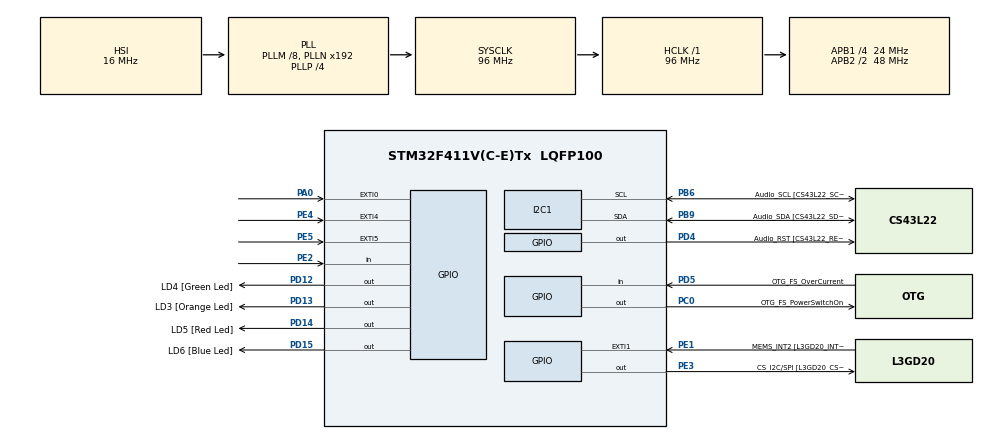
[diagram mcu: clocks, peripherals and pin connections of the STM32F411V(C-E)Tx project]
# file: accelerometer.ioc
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Mcu.Family=STM32F4
Mcu.Name=STM32F411V(C-E)Tx
Mcu.Package=LQFP100
NVIC.PriorityGroup=NVIC_PRIORITYGROUP_0
PA0-WKUP.GPIO_ModeDefaultEXTI=GPIO_MODE_EVT_RISING
PA0-WKUP.Signal=GPXTI0
PA10.GPIO_Label=OTG_FS_ID
PA10.Signal=USB_OTG_FS_ID
PA11.GPIO_Label=OTG_FS_DM
PA11.Signal=USB_OTG_FS_DM
PA12.GPIO_Label=OTG_FS_DP
PA12.Signal=USB_OTG_FS_DP
PA13.GPIO_Label=SWDIO
PA13.Signal=SYS_JTMS-SWDIO
PA14.GPIO_Label=SWCLK
PA14.Signal=SYS_JTCK-SWCLK
PA4.GPIO_Label=I2S3_WS [CS43L22_LRCK]
PA4.GPIO_Mode=GPIO_MODE_AF_PP
PA4.GPIO_PuPd=GPIO_NOPULL
PA4.GPIO_Speed=GPIO_SPEED_FREQ_LOW
PA4.Signal=I2S3_WS
PA5.GPIO_Label=SPI1_SCK [L3GD20_SC/SPC]
PA5.Signal=SPI1_SCK
PA6.GPIO_Label=SPI1_MISO [L3GD20_AS0/SDO]
PA6.Signal=SPI1_MISO
PA7.GPIO_Label=SPI1_MOSI [L3GD20_SDA/SDI/SDO]
PA7.Signal=SPI1_MOSI
PA9.GPIO_Label=VBUS_FS
PA9.Signal=USB_OTG_FS_VBUS
PB10.GPIO_Label=CLK_IN [MP45DT02_CLK]
PB10.Signal=I2S2_CK
PB12.Signal=I2S2_WS
PB3.GPIO_Label=SWO
PB3.Signal=SYS_JTDO-SWO
PB6.GPIO_Label=Audio_SCL [CS43L22_SCL]
PB6.GPIO_Mode=GPIO_MODE_AF_OD
PB6.GPIO_PuPd=GPIO_NOPULL
PB6.GPIO_Speed=GPIO_SPEED_FREQ_LOW
PB6.Mode=I2C
PB6.Signal=I2C1_SCL
PB9.GPIO_Label=Audio_SDA [CS43L22_SDA]
PB9.GPIO_Mode=GPIO_MODE_AF_OD
PB9.GPIO_PuPd=GPIO_NOPULL
PB9.GPIO_Speed=GPIO_SPEED_FREQ_LOW
PB9.Mode=I2C
PB9.Signal=I2C1_SDA
PC0.GPIO_Label=OTG_FS_PowerSwitchOn
PC0.PinState=GPIO_PIN_SET
PC0.Signal=GPIO_Output
PC10.GPIO_Label=I2S3_SCK [CS43L22_SCLK]
PC10.GPIO_Mode=GPIO_MODE_AF_PP
PC10.GPIO_PuPd=GPIO_NOPULL
PC10.GPIO_Speed=GPIO_SPEED_FREQ_LOW
PC10.Signal=I2S3_CK
PC12.GPIO_Label=I2S3_SD [CS43L22_SDIN]
PC12.GPIO_Mode=GPIO_MODE_AF_PP
PC12.GPIO_PuPd=GPIO_NOPULL
PC12.GPIO_Speed=GPIO_SPEED_FREQ_LOW
PC12.Signal=I2S3_SD
PC14-OSC32_IN.GPIO_Label=PC14-OSC32_IN
PC14-OSC32_IN.Signal=RCC_OSC32_IN
PC15-OSC32_OUT.GPIO_Label=PC15-OSC32_OUT
PC15-OSC32_OUT.Signal=RCC_OSC32_OUT
PC3.GPIO_Label=PDM_OUT [MP45DT02_DOUT]
PC3.Signal=I2S2_SD
PC7.GPIO_Label=I2S3_MCK [CS43L22_MCLK]
PC7.GPIO_Mode=GPIO_MODE_AF_PP
PC7.GPIO_PuPd=GPIO_NOPULL
PC7.GPIO_Speed=GPIO_SPEED_FREQ_LOW
PC7.Signal=I2S3_MCK
PD12.GPIO_Label=LD4 [Green Led]
PD12.GPIO_PuPd=GPIO_NOPULL
PD12.GPIO_Speed=GPIO_SPEED_FREQ_LOW
PD12.Signal=GPIO_Output
PD13.GPIO_Label=LD3 [Orange Led]
PD13.GPIO_PuPd=GPIO_NOPULL
PD13.GPIO_Speed=GPIO_SPEED_FREQ_LOW
PD13.Signal=GPIO_Output
PD14.GPIO_Label=LD5 [Red Led]
PD14.GPIO_PuPd=GPIO_NOPULL
PD14.GPIO_Speed=GPIO_SPEED_FREQ_LOW
PD14.Signal=GPIO_Output
PD15.GPIO_Label=LD6 [Blue Led]
PD15.GPIO_PuPd=GPIO_NOPULL
PD15.GPIO_Speed=GPIO_SPEED_FREQ_LOW
PD15.Signal=GPIO_Output
PD4.GPIO_Label=Audio_RST [CS43L22_RESET]
PD4.Signal=GPIO_Output
PD5.GPIO_Label=OTG_FS_OverCurrent
PD5.Signal=GPIO_Input
PE1.GPIO_Label=MEMS_INT2 [L3GD20_INT2]
PE1.GPIO_ModeDefaultEXTI=GPIO_MODE_EVT_RISING
PE1.Signal=GPXTI1
PE2.Signal=GPIO_Input
PE3.GPIO_Label=CS_I2C/SPI [L3GD20_CS_I2C/SPI]
PE3.Signal=GPIO_Output
PE4.GPIO_ModeDefaultEXTI=GPIO_MODE_EVT_RISING
PE4.Signal=GPXTI4
PE5.GPIO_ModeDefaultEXTI=GPIO_MODE_EVT_RISING
PE5.Signal=GPXTI5
PH0\ -\ OSC_IN.GPIO_Label=PH0-OSC_IN
PH0\ -\ OSC_IN.Signal=RCC_OSC_IN
PH1\ -\ OSC_OUT.GPIO_Label=PH1-OSC_OUT
PH1\ -\ OSC_OUT.Signal=RCC_OSC_OUT
ProjectManager.HeapSize=0x200
ProjectManager.StackSize=0x400
ProjectManager.TargetToolchain=STM32CubeIDE
RCC.48MHZClocksFreq_Value=48000000
RCC.AHBFreq_Value=96000000
RCC.APB1CLKDivider=RCC_HCLK_DIV4
RCC.APB1Freq_Value=24000000
RCC.APB1TimFreq_Value=48000000
RCC.APB2CLKDivider=RCC_HCLK_DIV2
RCC.APB2Freq_Value=48000000
RCC.APB2TimFreq_Value=96000000
RCC.CortexFreq_Value=96000000
RCC.HCLKFreq_Value=96000000
RCC.HSE_VALUE=8000000
RCC.HSI_VALUE=16000000
RCC.LSE_VALUE=32768
RCC.PLLI2SM=5
RCC.PLLI2SN=200
RCC.PLLM=8
RCC.PLLP=RCC_PLLP_DIV4
RCC.PLLQ=8
RCC.SYSCLKFreq_VALUE=96000000
RCC.SYSCLKSource=RCC_SYSCLKSOURCE_PLLCLK
RCC.VCOOutputFreq_Value=384000000
board=STM32F411E-DISCO

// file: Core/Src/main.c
/* USER CODE BEGIN Header */
/**
  ******************************************************************************
  * @file           : main.c
  * @brief          : Main program body
  ******************************************************************************
  * @attention
  *
  * Copyright (c) 2024 STMicroelectronics.
  * All rights reserved.
  *
  * This software is licensed under terms that can be found in the LICENSE file
  * in the root directory of this software component.
  * If no LICENSE file comes with this software, it is provided AS-IS.
  *
  ******************************************************************************
  */
/* USER CODE END Header */
#include "main.h"

/* USER CODE BEGIN Includes */
#include <stdio.h>
#include <math.h>
/* USER CODE END Includes */

I2C_HandleTypeDef hi2c1;

void SystemClock_Config(void);
static void MX_GPIO_Init(void);
static void MX_I2C1_Init(void);

int main(void)
{

  /* USER CODE BEGIN 1 */
	initialise_monitor_handles();
	printf("Hello World!\n");
  /* USER CODE END 1 */

  /* MCU Configuration--------------------------------------------------------*/

  /* Reset of all peripherals, Initializes the Flash interface and the Systick. */
  HAL_Init();

  /* Configure the system clock */
  SystemClock_Config();

  /* Initialize all configured peripherals */
  MX_GPIO_Init();
  MX_I2C1_Init();
  /* USER CODE BEGIN 2 */
   uint8_t i2c_receive_buf[6];
   uint8_t i2c_transmit_buf[6];

   uint8_t WHO_AM_I_reg = 0x0F;

   uint8_t ACC_I2C_ADDR = 0b0011001 << 1;

   uint8_t bytes_to_receive = 1;

   HAL_I2C_Mem_Read(&hi2c1, ACC_I2C_ADDR, WHO_AM_I_reg, 1,i2c_receive_buf, bytes_to_receive, 50);

   printf("WHO_AM_I_A: 0x%02X\n", i2c_receive_buf[0]);

 // ------------------------------------------------------- //
   uint8_t CTRL_REG1_A_reg = 0x20;
   HAL_I2C_Mem_Read(&hi2c1, ACC_I2C_ADDR, CTRL_REG1_A_reg, 1,i2c_receive_buf, bytes_to_receive, 50);
   printf("CTRL_REG1_A przed zapisem: 0x%02X\n", i2c_receive_buf[0]);

   i2c_transmit_buf[0] = 0b01010111;
   HAL_I2C_Mem_Write(&hi2c1, ACC_I2C_ADDR, CTRL_REG1_A_reg, 1, i2c_transmit_buf, 1, 50);

   HAL_I2C_Mem_Read(&hi2c1, ACC_I2C_ADDR, CTRL_REG1_A_reg, 1,i2c_receive_buf, bytes_to_receive, 50);
   printf("CTRL_REG1_A po zapisie: 0x%02X\n", i2c_receive_buf[0]);
  /* USER CODE END 2 */

  /* Infinite loop */
  /* USER CODE BEGIN WHILE */
	int16_t x, y, z;

	float wspolczynnik_fizyczny = 2;

	float xf, yf, zf;

	int16_t i2c_receive16bit_buf[3];
	uint8_t SAMPLES_START_reg = 0x28;
	uint8_t AUTO_INCREMENT_ADDR = 0x01 << 7;
	bytes_to_receive = 6;

  while (1)
  {
	  	HAL_I2C_Mem_Read(&hi2c1, ACC_I2C_ADDR, SAMPLES_START_reg | AUTO_INCREMENT_ADDR, 1, i2c_receive16bit_buf, bytes_to_receive, 50);
		x = i2c_receive16bit_buf[0];
		y = i2c_receive16bit_buf[1];
		z = i2c_receive16bit_buf[2];

		xf = (float)x / pow(2,15)*wspolczynnik_fizyczny;
		yf = (float)y / pow(2,15)*wspolczynnik_fizyczny;
		zf = (float)z / pow(2,15)*wspolczynnik_fizyczny;

		printf("xf: %04.2f, yf: %04.2f, zf: %04.2f\n", xf, yf, zf);
    /* USER CODE END WHILE */

  }
}

void SystemClock_Config(void)
{
  RCC_OscInitTypeDef RCC_OscInitStruct = {0};
  RCC_ClkInitTypeDef RCC_ClkInitStruct = {0};

  /** Configure the main internal regulator output voltage
  */
  __HAL_RCC_PWR_CLK_ENABLE();
  __HAL_PWR_VOLTAGESCALING_CONFIG(PWR_REGULATOR_VOLTAGE_SCALE1);

  /** Initializes the RCC Oscillators according to the specified parameters
  * in the RCC_OscInitTypeDef structure.
  */
  RCC_OscInitStruct.OscillatorType = RCC_OSCILLATORTYPE_HSI;
  RCC_OscInitStruct.HSIState = RCC_HSI_ON;
  RCC_OscInitStruct.HSICalibrationValue = RCC_HSICALIBRATION_DEFAULT;
  RCC_OscInitStruct.PLL.PLLState = RCC_PLL_ON;
  RCC_OscInitStruct.PLL.PLLSource = RCC_PLLSOURCE_HSI;
  RCC_OscInitStruct.PLL.PLLM = 8;
  RCC_OscInitStruct.PLL.PLLN = 192;
  RCC_OscInitStruct.PLL.PLLP = RCC_PLLP_DIV4;
  RCC_OscInitStruct.PLL.PLLQ = 8;
  if (HAL_RCC_OscConfig(&RCC_OscInitStruct) != HAL_OK)
  {
    Error_Handler();
  }

  /** Initializes the CPU, AHB and APB buses clocks
  */
  RCC_ClkInitStruct.ClockType = RCC_CLOCKTYPE_HCLK|RCC_CLOCKTYPE_SYSCLK
                              |RCC_CLOCKTYPE_PCLK1|RCC_CLOCKTYPE_PCLK2;
  RCC_ClkInitStruct.SYSCLKSource = RCC_SYSCLKSOURCE_PLLCLK;
  RCC_ClkInitStruct.AHBCLKDivider = RCC_SYSCLK_DIV1;
  RCC_ClkInitStruct.APB1CLKDivider = RCC_HCLK_DIV4;
  RCC_ClkInitStruct.APB2CLKDivider = RCC_HCLK_DIV2;

  if (HAL_RCC_ClockConfig(&RCC_ClkInitStruct, FLASH_LATENCY_3) != HAL_OK)
  {
    Error_Handler();
  }
}

static void MX_I2C1_Init(void)
{

  hi2c1.Instance = I2C1;
  hi2c1.Init.ClockSpeed = 100000;
  hi2c1.Init.DutyCycle = I2C_DUTYCYCLE_2;
  hi2c1.Init.OwnAddress1 = 0;
  hi2c1.Init.AddressingMode = I2C_ADDRESSINGMODE_7BIT;
  hi2c1.Init.DualAddressMode = I2C_DUALADDRESS_DISABLE;
  hi2c1.Init.OwnAddress2 = 0;
  hi2c1.Init.GeneralCallMode = I2C_GENERALCALL_DISABLE;
  hi2c1.Init.NoStretchMode = I2C_NOSTRETCH_DISABLE;
  if (HAL_I2C_Init(&hi2c1) != HAL_OK)
  {
    Error_Handler();
  }

}

static void MX_GPIO_Init(void)
{
  GPIO_InitTypeDef GPIO_InitStruct = {0};

  /* GPIO Ports Clock Enable */
  __HAL_RCC_GPIOE_CLK_ENABLE();
  __HAL_RCC_GPIOC_CLK_ENABLE();
  __HAL_RCC_GPIOH_CLK_ENABLE();
  __HAL_RCC_GPIOA_CLK_ENABLE();
  __HAL_RCC_GPIOB_CLK_ENABLE();
  __HAL_RCC_GPIOD_CLK_ENABLE();

  /*Configure GPIO pin Output Level */
  HAL_GPIO_WritePin(CS_I2C_SPI_GPIO_Port, CS_I2C_SPI_Pin, GPIO_PIN_RESET);

  /*Configure GPIO pin Output Level */
  HAL_GPIO_WritePin(OTG_FS_PowerSwitchOn_GPIO_Port, OTG_FS_PowerSwitchOn_Pin, GPIO_PIN_SET);

  /*Configure GPIO pin Output Level */
  HAL_GPIO_WritePin(GPIOD, LD4_Pin|LD3_Pin|LD5_Pin|LD6_Pin
                          |Audio_RST_Pin, GPIO_PIN_RESET);

  /*Configure GPIO pin : PE2 */
  GPIO_InitStruct.Pin = GPIO_PIN_2;
  GPIO_InitStruct.Mode = GPIO_MODE_INPUT;
  GPIO_InitStruct.Pull = GPIO_NOPULL;
  HAL_GPIO_Init(GPIOE, &GPIO_InitStruct);

  /*Configure GPIO pin : CS_I2C_SPI_Pin */
  GPIO_InitStruct.Pin = CS_I2C_SPI_Pin;
  GPIO_InitStruct.Mode = GPIO_MODE_OUTPUT_PP;
  GPIO_InitStruct.Pull = GPIO_NOPULL;
  GPIO_InitStruct.Speed = GPIO_SPEED_FREQ_LOW;
  HAL_GPIO_Init(CS_I2C_SPI_GPIO_Port, &GPIO_InitStruct);

  /*Configure GPIO pins : PE4 PE5 MEMS_INT2_Pin */
  GPIO_InitStruct.Pin = GPIO_PIN_4|GPIO_PIN_5|MEMS_INT2_Pin;
  GPIO_InitStruct.Mode = GPIO_MODE_EVT_RISING;
  GPIO_InitStruct.Pull = GPIO_NOPULL;
  HAL_GPIO_Init(GPIOE, &GPIO_InitStruct);

  /*Configure GPIO pin : OTG_FS_PowerSwitchOn_Pin */
  GPIO_InitStruct.Pin = OTG_FS_PowerSwitchOn_Pin;
  GPIO_InitStruct.Mode = GPIO_MODE_OUTPUT_PP;
  GPIO_InitStruct.Pull = GPIO_NOPULL;
  GPIO_InitStruct.Speed = GPIO_SPEED_FREQ_LOW;
  HAL_GPIO_Init(OTG_FS_PowerSwitchOn_GPIO_Port, &GPIO_InitStruct);

  /*Configure GPIO pin : PDM_OUT_Pin */
  GPIO_InitStruct.Pin = PDM_OUT_Pin;
  GPIO_InitStruct.Mode = GPIO_MODE_AF_PP;
  GPIO_InitStruct.Pull = GPIO_NOPULL;
  GPIO_InitStruct.Speed = GPIO_SPEED_FREQ_LOW;
  GPIO_InitStruct.Alternate = GPIO_AF5_SPI2;
  HAL_GPIO_Init(PDM_OUT_GPIO_Port, &GPIO_InitStruct);

  /*Configure GPIO pin : PA0 */
  GPIO_InitStruct.Pin = GPIO_PIN_0;
  GPIO_InitStruct.Mode = GPIO_MODE_EVT_RISING;
  GPIO_InitStruct.Pull = GPIO_NOPULL;
  HAL_GPIO_Init(GPIOA, &GPIO_InitStruct);

  /*Configure GPIO pin : I2S3_WS_Pin */
  GPIO_InitStruct.Pin = I2S3_WS_Pin;
  GPIO_InitStruct.Mode = GPIO_MODE_AF_PP;
  GPIO_InitStruct.Pull = GPIO_NOPULL;
  GPIO_InitStruct.Speed = GPIO_SPEED_FREQ_LOW;
  GPIO_InitStruct.Alternate = GPIO_AF6_SPI3;
  HAL_GPIO_Init(I2S3_WS_GPIO_Port, &GPIO_InitStruct);

  /*Configure GPIO pins : SPI1_SCK_Pin SPI1_MISO_Pin SPI1_MOSI_Pin */
  GPIO_InitStruct.Pin = SPI1_SCK_Pin|SPI1_MISO_Pin|SPI1_MOSI_Pin;
  GPIO_InitStruct.Mode = GPIO_MODE_AF_PP;
  GPIO_InitStruct.Pull = GPIO_NOPULL;
  GPIO_InitStruct.Speed = GPIO_SPEED_FREQ_VERY_HIGH;
  GPIO_InitStruct.Alternate = GPIO_AF5_SPI1;
  HAL_GPIO_Init(GPIOA, &GPIO_InitStruct);

  /*Configure GPIO pins : CLK_IN_Pin PB12 */
  GPIO_InitStruct.Pin = CLK_IN_Pin|GPIO_PIN_12;
  GPIO_InitStruct.Mode = GPIO_MODE_AF_PP;
  GPIO_InitStruct.Pull = GPIO_NOPULL;
  GPIO_InitStruct.Speed = GPIO_SPEED_FREQ_LOW;
  GPIO_InitStruct.Alternate = GPIO_AF5_SPI2;
  HAL_GPIO_Init(GPIOB, &GPIO_InitStruct);

  /*Configure GPIO pins : LD4_Pin LD3_Pin LD5_Pin LD6_Pin
                           Audio_RST_Pin */
  GPIO_InitStruct.Pin = LD4_Pin|LD3_Pin|LD5_Pin|LD6_Pin
                          |Audio_RST_Pin;
  GPIO_InitStruct.Mode = GPIO_MODE_OUTPUT_PP;
  GPIO_InitStruct.Pull = GPIO_NOPULL;
  GPIO_InitStruct.Speed = GPIO_SPEED_FREQ_LOW;
  HAL_GPIO_Init(GPIOD, &GPIO_InitStruct);

  /*Configure GPIO pins : I2S3_MCK_Pin I2S3_SCK_Pin I2S3_SD_Pin */
  GPIO_InitStruct.Pin = I2S3_MCK_Pin|I2S3_SCK_Pin|I2S3_SD_Pin;
  GPIO_InitStruct.Mode = GPIO_MODE_AF_PP;
  GPIO_InitStruct.Pull = GPIO_NOPULL;
  GPIO_InitStruct.Speed = GPIO_SPEED_FREQ_LOW;
  GPIO_InitStruct.Alternate = GPIO_AF6_SPI3;
  HAL_GPIO_Init(GPIOC, &GPIO_InitStruct);

  /*Configure GPIO pin : VBUS_FS_Pin */
  GPIO_InitStruct.Pin = VBUS_FS_Pin;
  GPIO_InitStruct.Mode = GPIO_MODE_INPUT;
  GPIO_InitStruct.Pull = GPIO_NOPULL;
  HAL_GPIO_Init(VBUS_FS_GPIO_Port, &GPIO_InitStruct);

  /*Configure GPIO pins : OTG_FS_ID_Pin OTG_FS_DM_Pin OTG_FS_DP_Pin */
  GPIO_InitStruct.Pin = OTG_FS_ID_Pin|OTG_FS_DM_Pin|OTG_FS_DP_Pin;
  GPIO_InitStruct.Mode = GPIO_MODE_AF_PP;
  GPIO_InitStruct.Pull = GPIO_NOPULL;
  GPIO_InitStruct.Speed = GPIO_SPEED_FREQ_VERY_HIGH;
  GPIO_InitStruct.Alternate = GPIO_AF10_OTG_FS;
  HAL_GPIO_Init(GPIOA, &GPIO_InitStruct);

  /*Configure GPIO pin : OTG_FS_OverCurrent_Pin */
  GPIO_InitStruct.Pin = OTG_FS_OverCurrent_Pin;
  GPIO_InitStruct.Mode = GPIO_MODE_INPUT;
  GPIO_InitStruct.Pull = GPIO_NOPULL;
  HAL_GPIO_Init(OTG_FS_OverCurrent_GPIO_Port, &GPIO_InitStruct);

}

void Error_Handler(void)
{
  __disable_irq();
  while (1)
  {
  }
}
